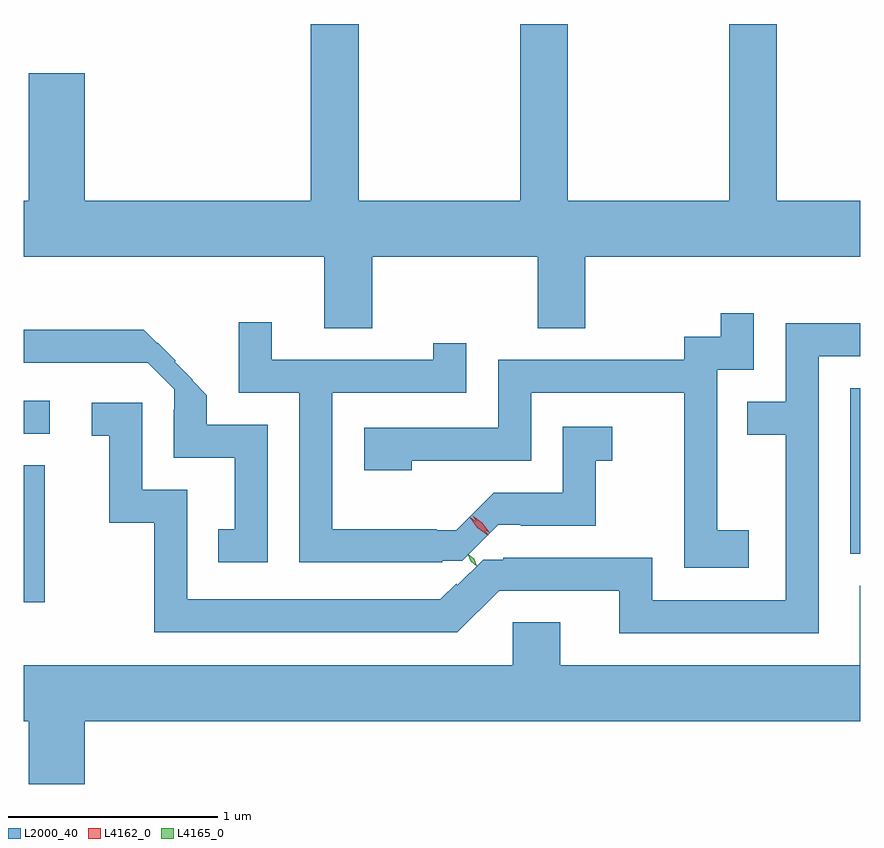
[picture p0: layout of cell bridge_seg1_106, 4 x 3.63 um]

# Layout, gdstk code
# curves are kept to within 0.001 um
import gdstk
lib = gdstk.Library(unit=1e-6, precision=1e-09)
def R(c, l, rs):  # rectangles x0, y0, x1, y1
    for r in rs: c.add(gdstk.rectangle(r[:2], r[2:], *l))
def P(c, l, *ps):  # polygons
    for p in ps: c.add(gdstk.Polygon(p, *l))
L2000_40 = (2000, 40)
L4162_0 = (4162, 0)
L4165_0 = (4165, 0)

bridge_seg1_106 = lib.new_cell('bridge_seg1_106')
R(bridge_seg1_106, L2000_40, [(1433.833,846.866,1433.934,847.519), (1437.786,847.096,1437.833,847.889), (1433.833,847.671,1433.958,847.829)])
P(bridge_seg1_106, L2000_40, [(1435.499,848.516),(1436.291,848.516),(1436.291,848.176),(1436.519,848.176),(1436.519,848.516),(1437.833,848.516),(1437.833,848.784),(1437.434,848.784),(1437.434,849.63),(1437.206,849.63),(1437.206,848.784),(1436.434,848.784),(1436.434,849.63),(1436.206,849.63),(1436.206,848.784),(1435.434,848.784),(1435.434,849.63),(1435.206,849.63),(1435.206,848.784),(1434.124,848.784),(1434.124,849.394),(1433.856,849.394),(1433.856,848.784),(1433.833,848.784),(1433.833,848.516),(1435.271,848.516),(1435.271,848.176),(1435.499,848.176)],
  [(1437.299,847.209),(1437.149,847.209),(1437.149,847.976),(1437.324,847.976),(1437.324,848.248),(1437.166,848.248),(1437.166,848.134),(1436.991,848.134),(1436.991,848.024),(1436.101,848.024),(1436.101,847.699),(1435.461,847.699),(1435.461,847.496),(1435.689,847.496),(1435.689,847.541),(1436.259,847.541),(1436.259,847.866),(1436.991,847.866),(1436.991,847.031),(1437.299,847.031)],
  [(1435.835,847.063),(1435.93,847.063),(1436.102,847.235),(1436.21,847.235),(1436.21,847.231),(1436.569,847.231),(1436.569,847.541),(1436.648,847.541),(1436.648,847.704),(1436.411,847.704),(1436.411,847.389),(1436.081,847.389),(1435.902,847.21),(1435.807,847.21),(1435.807,847.214),(1435.309,847.214),(1435.309,847.866),(1435.949,847.866),(1435.949,848.103),(1435.791,848.103),(1435.791,848.024),(1435.019,848.024),(1435.019,848.203),(1434.861,848.203),(1434.861,847.866),(1435.151,847.866),(1435.151,847.056),(1435.835,847.056)],
  [(1437.634,848.041),(1437.833,848.041),(1437.833,848.199),(1437.476,848.199),(1437.476,847.824),(1437.293,847.824),(1437.293,847.666),(1437.476,847.666),(1437.476,846.874),(1436.839,846.874),(1436.839,847.079),(1436.125,847.078),(1436.125,847.069),(1436.03,847.069),(1435.907,846.947),(1435.9,846.954),(1435.825,846.879),(1434.614,846.879),(1434.614,847.404),(1434.399,847.404),(1434.399,847.819),(1434.158,847.819),(1434.158,847.661),(1434.241,847.661),(1434.241,847.246),(1434.456,847.246),(1434.456,846.721),(1435.907,846.721),(1436.107,846.921),(1436.681,846.921),(1436.681,846.716),(1437.634,846.716)],
  [(1434.999,847.714),(1434.709,847.714),(1434.709,847.855),(1434.638,847.926),(1434.64,847.929),(1434.555,848.015),(1434.559,848.019),(1434.473,848.105),(1434.472,848.103),(1434.406,848.169),(1433.833,848.169),(1433.833,848.011),(1434.425,848.01),(1434.552,847.884),(1434.551,847.556),(1434.841,847.556),(1434.841,847.214),(1434.763,847.214),(1434.763,847.056),(1434.999,847.056)],
  [(1434.124,846.296),(1437.833,846.296),(1437.833,846.944),(1437.831,846.944),(1437.831,846.564),(1436.399,846.564),(1436.399,846.769),(1436.171,846.769),(1436.171,846.564),(1433.833,846.564),(1433.833,846.296),(1433.856,846.296),(1433.856,845.996),(1434.124,845.996)])
P(bridge_seg1_106, L4162_0, [(1436.052,847.186),(1436.002,847.222),(1435.966,847.271),(1435.966,847.272),(1435.967,847.272),(1436.016,847.236),(1436.053,847.187),(1436.053,847.186)],
  [(1436.059,847.198),(1436.012,847.232),(1435.979,847.278),(1435.979,847.279),(1435.98,847.279),(1436.026,847.246),(1436.06,847.199),(1436.06,847.198)])
P(bridge_seg1_106, L4165_0, [(1435.999,847.038),(1435.971,847.06),(1435.957,847.094),(1435.957,847.094),(1435.958,847.094),(1435.987,847.072),(1436,847.038),(1436,847.038)],
  [(1435.997,847.039),(1435.97,847.06),(1435.96,847.092),(1435.96,847.093),(1435.96,847.093),(1435.987,847.071),(1435.998,847.039),(1435.998,847.039)])

lib.write_gds('bridge_seg1_106.gds')
